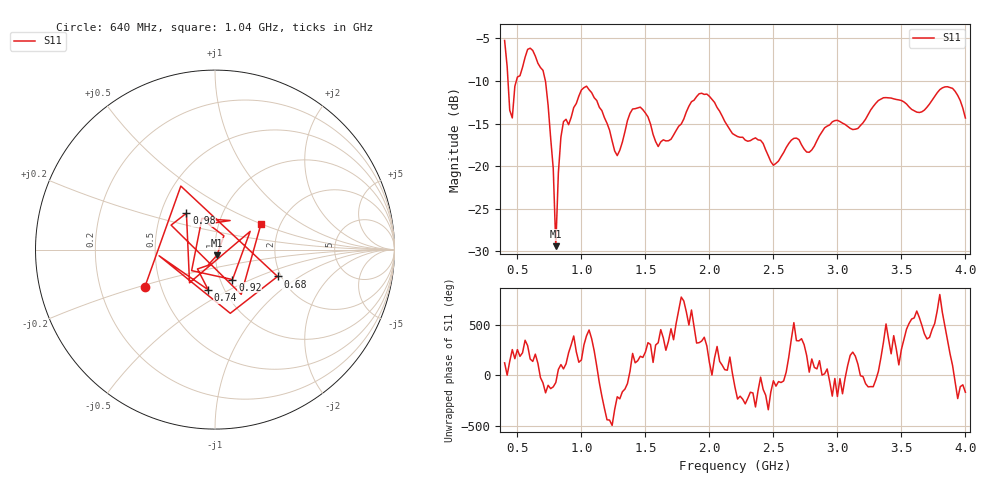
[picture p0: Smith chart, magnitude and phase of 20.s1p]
!Created with skrf (http://scikit-rf.org).
# Hz S RI R 50.0
!freq ReS11 ImS11
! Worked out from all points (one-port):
!   181 points, 400 MHz to 4 GHz, reference 50 ohm
!   lowest |S11| = -29.4 dB at 800 MHz (marker M1), VSWR 1.07, Z = 50.9 - j3.29 ohm
!   |S11| at or under -10 dB: 426.5 MHz to 491.5 MHz (64.97 MHz wide, 14.2 % of centre); 718.8 MHz to end of sweep
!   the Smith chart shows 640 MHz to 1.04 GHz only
!   S11 on the Smith chart (normalised r, x): 640 MHz: 0.41, -0.21; 680 MHz: 1.92, -0.67; 740 MHz: 0.84, -0.40; 920 MHz: 1.14, -0.40; 980 MHz: 0.67, +0.29; 1.04 GHz: 1.59, +0.51
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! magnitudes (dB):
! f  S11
! 400 MHz  -5.2
! 440 MHz  -13.4
! 460 MHz  -14.3
! 480 MHz  -10.6
! 580 MHz  -6.3
! 640 MHz  -7.1
! 680 MHz  -8.4
! 740 MHz  -12.9
! 780 MHz  -20.3
! 800 MHz  -29.4
! 820 MHz  -20.8
! 860 MHz  -14.8
! 920 MHz  -14.3
! 980 MHz  -11.8
! 1.04 GHz  -10.6
! 1.3 GHz  -18.1
! 1.4 GHz  -13.3
! 1.6 GHz  -17.7
! 1.76 GHz  -15.3
! 1.94 GHz  -11.4
! 2.2 GHz  -16.4
! 2.5 GHz  -19.9
! 2.66 GHz  -16.7
! 3.1 GHz  -15.6
! 3.36 GHz  -12.0
! 3.56 GHz  -13.0
! 3.86 GHz  -10.7
! 4 GHz  -14.3
